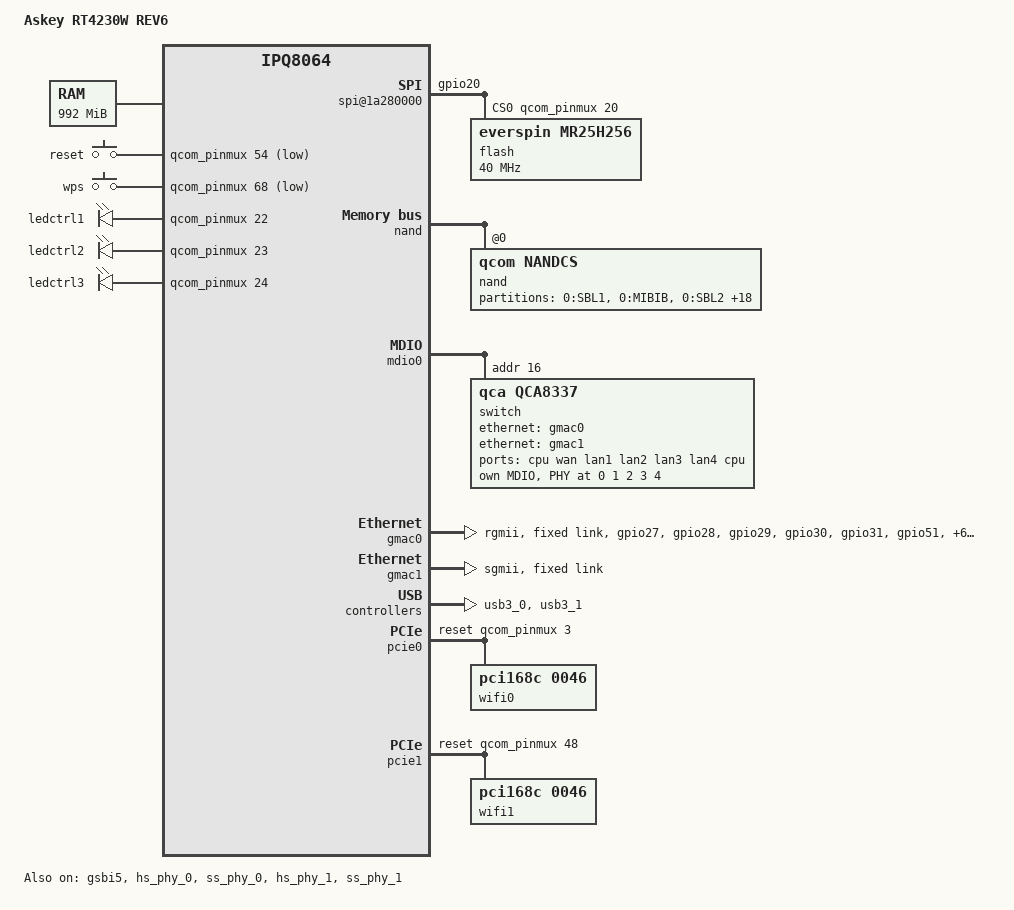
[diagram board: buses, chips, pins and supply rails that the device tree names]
// SPDX-License-Identifier: GPL-2.0-or-later

#include "qcom-ipq8065-smb208.dtsi"
#include <dt-bindings/input/input.h>
#include <dt-bindings/leds/common.h>

/ {
	model = "Askey RT4230W REV6";
	compatible = "askey,rt4230w-rev6", "qcom,ipq8065", "qcom,ipq8064";

	memory@0 {
		reg = <0x42000000 0x3e000000>;
		device_type = "memory";
	};

	aliases {
		led-boot = &ledctrl1;
		led-failsafe = &ledctrl1;
		led-running = &ledctrl3;
		led-upgrade = &ledctrl1;
	};

	chosen {
		bootargs = "rootfstype=squashfs noinitrd";
	};

	keys {
		compatible = "gpio-keys";
		pinctrl-0 = <&button_pins>;
		pinctrl-names = "default";

		reset {
			label = "reset";
			gpios = <&qcom_pinmux 54 GPIO_ACTIVE_LOW>;
			linux,code = <KEY_RESTART>;
		};

		wps {
			label = "wps";
			gpios = <&qcom_pinmux 68 GPIO_ACTIVE_LOW>;
			linux,code = <KEY_WPS_BUTTON>;
		};
	};

	leds {
		compatible = "gpio-leds";
		pinctrl-0 = <&led_pins>;
		pinctrl-names = "default";

		ledctrl1: ledctrl1 {
			label = "ledctrl1";
			gpios = <&qcom_pinmux 22 GPIO_ACTIVE_HIGH>;
		};

		ledctrl2: ledctrl2 {
			label = "ledctrl2";
			gpios = <&qcom_pinmux 23 GPIO_ACTIVE_HIGH>;
			linux,default-trigger = "default-on";
		};

		ledctrl3: ledctrl3 {
			label = "ledctrl3";
			gpios = <&qcom_pinmux 24 GPIO_ACTIVE_HIGH>;
		};
	};
};

&qcom_pinmux {
	button_pins: button_pins {
		mux {
			pins = "gpio54", "gpio68";
			function = "gpio";
			drive-strength = <2>;
			bias-pull-up;
		};
	};

	led_pins: led_pins {
		mux {
			pins = "gpio22", "gpio23", "gpio24";
			function = "gpio";
			drive-strength = <2>;
			bias-pull-down;
		};
	};

	rgmii2_pins: rgmii2-pins {
		mux {
			pins = "gpio27", "gpio28", "gpio29", "gpio30", "gpio31",
				"gpio51", "gpio52", "gpio59", "gpio60", "gpio61", "gpio62";
			function = "rgmii2";
			drive-strength = <8>;
			bias-disable;
		};

		tx {
			pins = "gpio27", "gpio28", "gpio29", "gpio30", "gpio31", "gpio32";
			input-disable;
		};
	};

	spi_pins: spi_pins {
		cs {
			pins = "gpio20";
			drive-strength = <12>;
		};
	};
};

&gsbi5 {
	qcom,mode = <GSBI_PROT_SPI>;
	status = "okay";

	spi@1a280000 {
		status = "okay";

		pinctrl-0 = <&spi_pins>;
		pinctrl-names = "default";

		cs-gpios = <&qcom_pinmux 20 GPIO_ACTIVE_HIGH>;

		flash@0 {
			compatible = "everspin,mr25h256";
			#address-cells = <1>;
			#size-cells = <1>;
			spi-max-frequency = <40000000>;
			reg = <0>;
		};
	};
};

&nand {
	status = "okay";

	nand@0 {
		reg = <0>;
		compatible = "qcom,nandcs";

		nand-ecc-strength = <4>;
		nand-bus-width = <8>;
		nand-ecc-step-size = <512>;

		qcom,boot-partitions = <0x0 0x1180000 0x1340000 0x10c0000>;

		partitions {
			compatible = "fixed-partitions";
			#address-cells = <1>;
			#size-cells = <1>;

			partition@0 {
				label = "0:SBL1";
				reg = <0x0000000 0x0040000>;
				read-only;
			};

			partition@40000 {
				label = "0:MIBIB";
				reg = <0x0040000 0x0140000>;
				read-only;
			};

			partition@180000 {
				label = "0:SBL2";
				reg = <0x0180000 0x0140000>;
				read-only;
			};

			partition@2c0000 {
				label = "0:SBL3";
				reg = <0x02c0000 0x0280000>;
				read-only;
			};

			partition@540000 {
				label = "0:DDRCONFIG";
				reg = <0x0540000 0x0120000>;
				read-only;
			};

			partition@660000 {
				label = "0:SSD";
				reg = <0x0660000 0x0120000>;
				read-only;
			};

			partition@780000 {
				label = "0:TZ";
				reg = <0x0780000 0x0280000>;
				read-only;
			};

			partition@a00000 {
				label = "0:RPM";
				reg = <0x0a00000 0x0280000>;
				read-only;
			};

			partition@c80000 {
				label = "0:APPSBL";
				reg = <0x0c80000 0x0500000>;
				read-only;
			};

			partition@1180000 {
				label = "0:APPSBLENV";
				reg = <0x1180000 0x0080000>;
			};

			partition@1200000 {
				label = "0:ART";
				reg = <0x1200000 0x0140000>;
				read-only;

				nvmem-layout {
					compatible = "fixed-layout";
					#address-cells = <1>;
					#size-cells = <1>;

					macaddr_ART_0: macaddr@0 {
						reg = <0x0 0x6>;
					};

					macaddr_ART_6: macaddr@6 {
						reg = <0x6 0x6>;
					};

					precal_ART_1000: precal@1000 {
						reg = <0x1000 0x2f20>;
					};

					precal_ART_5000: precal@5000 {
						reg = <0x5000 0x2f20>;
					};
				};
			};

			partition@1340000 {
				label = "0:BOOTCONFIG";
				reg = <0x1340000 0x0060000>;
				read-only;
			};

			partition@13a0000 {
				label = "0:SBL2_1";
				reg = <0x13a0000 0x0140000>;
				read-only;
			};

			partition@14e0000 {
				label = "0:SBL3_1";
				reg = <0x14e0000 0x0280000>;
				read-only;
			};

			partition@1760000 {
				label = "0:DDRCONFIG_1";
				reg = <0x1760000 0x0120000>;
				read-only;
			};

			partition@1880000 {
				label = "0:SSD_1";
				reg = <0x1880000 0x0120000>;
				read-only;
			};

			partition@19a0000 {
				label = "0:TZ_1";
				reg = <0x19a0000 0x0280000>;
				read-only;
			};

			partition@1c20000 {
				label = "0:RPM_1";
				reg = <0x1c20000 0x0280000>;
				read-only;
			};

			partition@1ea0000 {
				label = "0:BOOTCONFIG1";
				reg = <0x1ea0000 0x0060000>;
				read-only;
			};

			partition@1f00000 {
				label = "0:APPSBL_1";
				reg = <0x1f00000 0x0500000>;
				read-only;
			};

			partition@2400000 {
				label = "ubi";
				reg = <0x2400000 0x1a000000>;
			};
		};
	};
};

&mdio0 {
	status = "okay";

	pinctrl-0 = <&mdio0_pins>;
	pinctrl-names = "default";

	switch@10 {
		compatible = "qca,qca8337";
		#address-cells = <1>;
		#size-cells = <0>;
		reg = <0x10>;

		ports {
			#address-cells = <1>;
			#size-cells = <0>;

			port@0 {
				reg = <0>;
				label = "cpu";
				ethernet = <&gmac0>;
				phy-mode = "rgmii";
				tx-internal-delay-ps = <1000>;
				rx-internal-delay-ps = <1000>;

				fixed-link {
					speed = <1000>;
					full-duplex;
				};
			};

			port@1 {
				reg = <1>;
				label = "wan";
				phy-mode = "internal";
				phy-handle = <&phy_port1>;

				leds {
					#address-cells = <1>;
					#size-cells = <0>;

					led@0 {
						reg = <0>;
						color = <LED_COLOR_ID_GREEN>;
						function = LED_FUNCTION_WAN;
						default-state = "keep";
					};

					led@1 {
						reg = <1>;
						color = <LED_COLOR_ID_AMBER>;
						function = LED_FUNCTION_WAN;
						default-state = "keep";
					};
				};
			};

			port@2 {
				reg = <2>;
				label = "lan1";
				phy-mode = "internal";
				phy-handle = <&phy_port2>;

				leds {
					#address-cells = <1>;
					#size-cells = <0>;

					led@0 {
						reg = <0>;
						color = <LED_COLOR_ID_GREEN>;
						function = LED_FUNCTION_LAN;
						default-state = "keep";
					};

					led@1 {
						reg = <1>;
						color = <LED_COLOR_ID_AMBER>;
						function = LED_FUNCTION_LAN;
						default-state = "keep";
					};
				};
			};

			port@3 {
				reg = <3>;
				label = "lan2";
				phy-mode = "internal";
				phy-handle = <&phy_port3>;

				leds {
					#address-cells = <1>;
					#size-cells = <0>;

					led@0 {
						reg = <0>;
						color = <LED_COLOR_ID_GREEN>;
						function = LED_FUNCTION_LAN;
						default-state = "keep";
					};

					led@1 {
						reg = <1>;
						color = <LED_COLOR_ID_AMBER>;
						function = LED_FUNCTION_LAN;
						default-state = "keep";
					};
				};
			};

			port@4 {
				reg = <4>;
				label = "lan3";
				phy-mode = "internal";
				phy-handle = <&phy_port4>;

				leds {
					#address-cells = <1>;
					#size-cells = <0>;

					led@0 {
						reg = <0>;
						color = <LED_COLOR_ID_GREEN>;
						function = LED_FUNCTION_LAN;
						default-state = "keep";
					};

					led@1 {
						reg = <1>;
						color = <LED_COLOR_ID_AMBER>;
						function = LED_FUNCTION_LAN;
						default-state = "keep";
					};
				};
			};

			port@5 {
				reg = <5>;
				label = "lan4";
				phy-mode = "internal";
				phy-handle = <&phy_port5>;

				leds {
					#address-cells = <1>;
					#size-cells = <0>;

					led@0 {
						reg = <0>;
						color = <LED_COLOR_ID_GREEN>;
						function = LED_FUNCTION_LAN;
						default-state = "keep";
					};

					led@1 {
						reg = <1>;
						color = <LED_COLOR_ID_AMBER>;
						function = LED_FUNCTION_LAN;
						default-state = "keep";
					};
				};
			};

			port@6 {
				reg = <6>;
				label = "cpu";
				ethernet = <&gmac1>;
				phy-mode = "sgmii";
				qca,sgmii-enable-pll;

				fixed-link {
					speed = <1000>;
					full-duplex;
				};
			};
		};

		mdio {
			#address-cells = <1>;
			#size-cells = <0>;

			phy_port1: phy@0 {
				reg = <0>;
			};

			phy_port2: phy@1 {
				reg = <1>;
			};

			phy_port3: phy@2 {
				reg = <2>;
			};

			phy_port4: phy@3 {
				reg = <3>;
			};

			phy_port5: phy@4 {
				reg = <4>;
			};
		};
	};
};

&gmac0 {
	status = "okay";
	phy-mode = "rgmii";
	qcom,id = <0>;

	nvmem-cells = <&macaddr_ART_0>;
	nvmem-cell-names = "mac-address";

	pinctrl-0 = <&rgmii2_pins>;
	pinctrl-names = "default";

	fixed-link {
		speed = <1000>;
		full-duplex;
	};
};

&gmac1 {
	status = "okay";
	phy-mode = "sgmii";
	qcom,id = <1>;

	nvmem-cells = <&macaddr_ART_6>;
	nvmem-cell-names = "mac-address";

	fixed-link {
		speed = <1000>;
		full-duplex;
	};
};

&adm_dma {
	status = "okay";
};

&hs_phy_0 {
	status = "okay";
};

&ss_phy_0 {
	status = "okay";
};

&usb3_0 {
	status = "okay";
};

&hs_phy_1 {
	status = "okay";
};

&ss_phy_1 {
	status = "okay";
};

&usb3_1 {
	status = "okay";
};

&pcie0 {
	status = "okay";
	reset-gpios = <&qcom_pinmux 3 GPIO_ACTIVE_HIGH>;
	pinctrl-0 = <&pcie0_pins>;
	pinctrl-names = "default";

	bridge@0,0 {
		reg = <0x00000000 0 0 0 0>;
		#address-cells = <3>;
		#size-cells = <2>;
		ranges;

		wifi0: wifi@1,0 {
			compatible = "pci168c,0046";
			reg = <0x00010000 0 0 0 0>;

			nvmem-cells = <&precal_ART_1000>;
			nvmem-cell-names = "pre-calibration";
		};
	};
};

&pcie1 {
	status = "okay";
	reset-gpios = <&qcom_pinmux 48 GPIO_ACTIVE_HIGH>;
	pinctrl-0 = <&pcie1_pins>;
	pinctrl-names = "default";
	max-link-speed = <1>;

	bridge@0,0 {
		reg = <0x00000000 0 0 0 0>;
		#address-cells = <3>;
		#size-cells = <2>;
		ranges;

		wifi1: wifi@1,0 {
			compatible = "pci168c,0046";
			reg = <0x00010000 0 0 0 0>;

			nvmem-cells = <&precal_ART_5000>;
			nvmem-cell-names = "pre-calibration";
		};
	};
};
